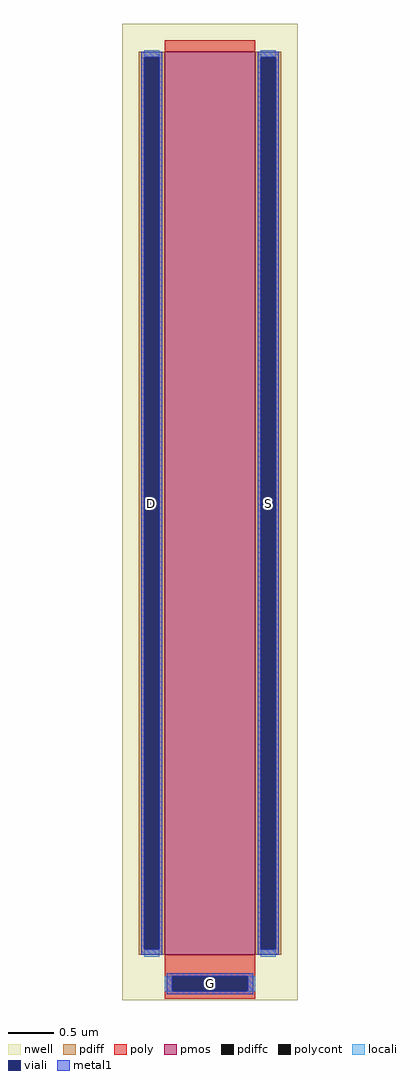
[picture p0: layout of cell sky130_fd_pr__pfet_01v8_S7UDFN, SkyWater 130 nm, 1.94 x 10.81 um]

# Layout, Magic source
magic
tech sky130A
magscale 1 2
<< nwell >>
rect -194 -1064 194 1098
<< pmos >>
rect -100 -964 100 1036
<< pdiff >>
rect -158 1024 -100 1036
rect -158 -952 -146 1024
rect -112 -952 -100 1024
rect -158 -964 -100 -952
rect 100 1024 158 1036
rect 100 -952 112 1024
rect 146 -952 158 1024
rect 100 -964 158 -952
<< pdiffc >>
rect -146 -952 -112 1024
rect 112 -952 146 1024
<< poly >>
rect -100 1036 100 1062
rect -100 -1011 100 -964
rect -100 -1045 -84 -1011
rect 84 -1045 100 -1011
rect -100 -1061 100 -1045
<< polycont >>
rect -84 -1045 84 -1011
<< locali >>
rect -146 1024 -112 1040
rect -146 -968 -112 -952
rect 112 1024 146 1040
rect 112 -968 146 -952
rect -100 -1045 -84 -1011
rect 84 -1045 100 -1011
<< viali >>
rect -146 -952 -112 1024
rect 112 -952 146 1024
rect -84 -1045 84 -1011
<< metal1 >>
rect -152 1024 -106 1036
rect -152 -952 -146 1024
rect -112 -952 -106 1024
rect -152 -964 -106 -952
rect 106 1024 152 1036
rect 106 -952 112 1024
rect 146 -952 152 1024
rect 106 -964 152 -952
rect -96 -1011 96 -1005
rect -96 -1045 -84 -1011
rect 84 -1045 96 -1011
rect -96 -1051 96 -1045
<< labels >>
rlabel pdiffc -129 36 -129 36 0 D
port 1 nsew
rlabel pdiffc 129 36 129 36 0 S
port 2 nsew
rlabel polycont 0 -1028 0 -1028 0 G
port 3 nsew
<< properties >>
string gencell sky130_fd_pr__pfet_01v8
string library sky130
string parameters w 10 l 1 m 1 nf 1 diffcov 100 polycov 100 guard 0 glc 0 grc 0 gtc 0 gbc 0 tbcov 100 rlcov 100 topc 0 botc 1 poverlap 0 doverlap 1 lmin 0.15 wmin 0.42 class mosfet compatible {sky130_fd_pr__pfet_01v8  sky130_fd_pr__pfet_01v8_lvt sky130_fd_pr__pfet_01v8_hvt  sky130_fd_pr__pfet_g5v0d10v5} full_metal 0 conn_gates 0 viasrc 100 viadrn 100 viagate 100 viagb 0 viagr 0 viagl 0 viagt 0 doports 1
<< end >>
